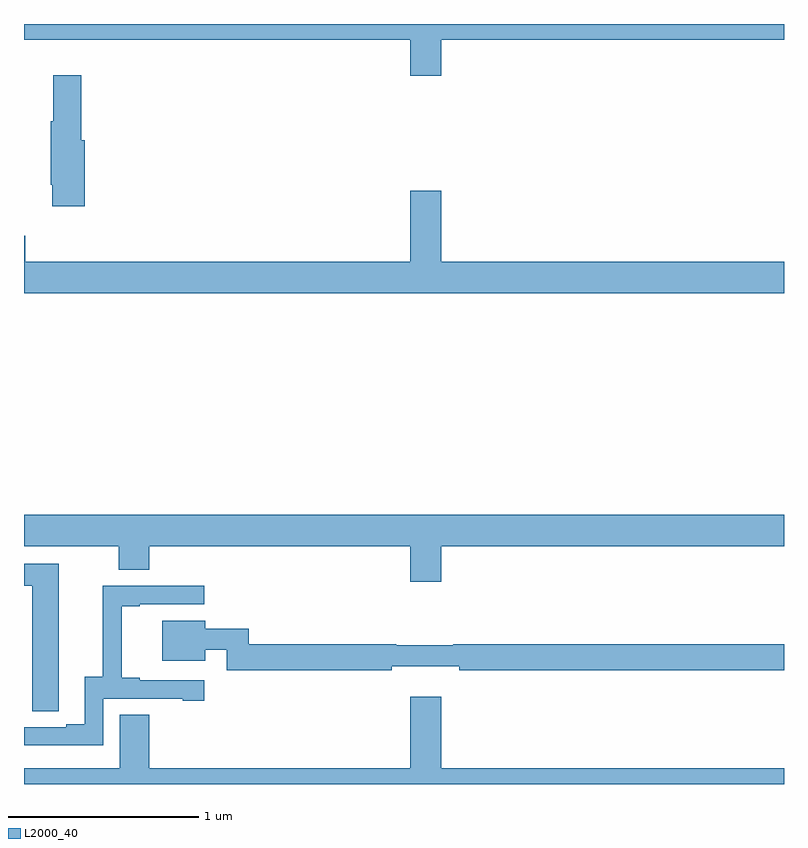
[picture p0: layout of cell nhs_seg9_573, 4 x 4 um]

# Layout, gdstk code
import gdstk
lib = gdstk.Library(unit=1e-6, precision=1e-09)
def P(c, l, *ps):  # polygons
    for p in ps: c.add(gdstk.Polygon(p, *l))
L2000_40 = (2000, 40)

nhs_seg9_573 = lib.new_cell('nhs_seg9_573')
P(nhs_seg9_573, L2000_40, [(141.196,1200.416),(143,1200.416),(143,1200.5),(139,1200.5),(139,1200.416),(141.032,1200.416),(141.032,1200.228),(141.196,1200.228)],
  [(139.319,1199.889),(139.301,1199.889),(139.301,1200.229),(139.154,1200.229),(139.154,1199.989),(139.141,1199.989),(139.141,1199.653),(139.148,1199.653),(139.148,1199.541),(139.319,1199.541)],
  [(143,1199.248),(141.196,1199.248),(141.196,1199.623),(141.032,1199.623),(141.032,1199.248),(139.007,1199.248),(139.007,1199.385),(139,1199.385),(139,1199.084),(143,1199.084)],
  [(141.196,1197.752),(143,1197.752),(143,1197.916),(139,1197.916),(139,1197.752),(139.498,1197.752),(139.498,1197.628),(139.658,1197.628),(139.658,1197.752),(141.032,1197.752),(141.032,1197.564),(141.196,1197.564)],
  [(139.182,1196.992),(139.183,1196.992),(139.183,1197.66),(139,1197.66),(139,1197.544),(139.043,1197.544),(139.043,1196.884),(139.182,1196.884)],
  [(139.416,1196.949),(139.835,1196.949),(139.835,1196.937),(139.948,1196.937),(139.948,1197.045),(139.609,1197.045),(139.609,1197.058),(139.514,1197.058),(139.514,1197.435),(139.609,1197.435),(139.609,1197.447),(139.948,1197.447),(139.948,1197.543),(139.414,1197.543),(139.414,1197.065),(139.319,1197.065),(139.319,1196.814),(139.223,1196.814),(139.223,1196.799),(139,1196.799),(139,1196.703),(139.416,1196.703)],
  [(140.936,1197.119),(141.292,1197.119),(141.292,1197.1),(143,1197.1),(143,1197.236),(141.26,1197.236),(141.26,1197.229),(140.96,1197.229),(140.96,1197.236),(140.183,1197.236),(140.183,1197.316),(139.954,1197.316),(139.954,1197.358),(139.727,1197.358),(139.727,1197.149),(139.954,1197.149),(139.954,1197.206),(140.067,1197.206),(140.067,1197.1),(140.936,1197.1)],
  [(143,1196.584),(141.196,1196.584),(141.196,1196.959),(141.032,1196.959),(141.032,1196.584),(139.658,1196.584),(139.658,1196.864),(139.505,1196.864),(139.505,1196.584),(139,1196.584),(139,1196.5),(143,1196.5)])

lib.write_gds('nhs_seg9_573.gds')
